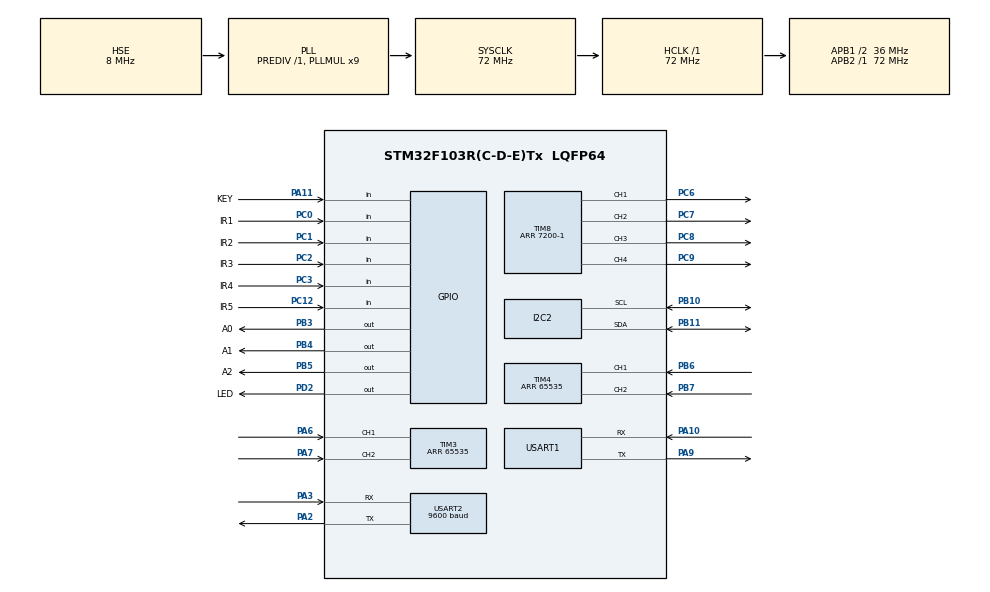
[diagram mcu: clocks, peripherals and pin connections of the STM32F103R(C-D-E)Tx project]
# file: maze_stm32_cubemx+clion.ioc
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Mcu.Family=STM32F1
PB10.Mode=I2C
PC12.Signal=GPIO_Input
TIM4.EncoderMode=TIM_ENCODERMODE_TI12
TIM3.EncoderMode=TIM_ENCODERMODE_TI12
PC0.GPIO_Label=IR1
TIM8.Channel-PWM\ Generation4\ CH4=TIM_CHANNEL_4
PB11.Signal=I2C2_SDA
RCC.SYSCLKSource=RCC_SYSCLKSOURCE_PLLCLK
ProjectManager.StackSize=0x400
PD1-OSC_OUT.Signal=RCC_OSC_OUT
VP_TIM7_VS_ClockSourceINT.Mode=Enable_Timer
NVIC.TIM5_IRQn=true\:3\:0\:true\:false\:true\:true\:true
RCC.HCLKFreq_Value=72000000
TIM8.Channel-PWM\ Generation1\ CH1=TIM_CHANNEL_1
RCC.APB2TimFreq_Value=72000000
TIM3.Period=65535
PB6.Signal=S_TIM4_CH1
PC7.Signal=S_TIM8_CH2
PC3.Signal=GPIO_Input
TIM7.Period=100-1
RCC.AHBFreq_Value=72000000
RCC.PLLMUL=RCC_PLL_MUL9
PA14.Mode=Serial_Wire
SH.S_TIM4_CH2.0=TIM4_CH2,Encoder_Interface
PB7.Signal=S_TIM4_CH2
SH.S_TIM3_CH1.0=TIM3_CH1,Encoder_Interface
TIM4.Period=65535
TIM6.Period=100-1
Mcu.Package=LQFP64
PA6.Signal=S_TIM3_CH1
TIM8.Channel-PWM\ Generation3\ CH3=TIM_CHANNEL_3
SH.S_TIM8_CH4.0=TIM8_CH4,PWM Generation4 CH4
USART2.VirtualMode=VM_ASYNC
PA10.Signal=USART1_RX
TIM8.Channel-PWM\ Generation2\ CH2=TIM_CHANNEL_2
PB5.GPIO_Label=A2
SH.S_TIM4_CH1.0=TIM4_CH1,Encoder_Interface
RCC.APB1TimFreq_Value=72000000
NVIC.USART1_IRQn=true\:3\:0\:true\:false\:true\:true\:true
PC2.GPIO_Label=IR3
NVIC.TIM7_IRQn=true\:1\:0\:true\:false\:true\:true\:true
PB4.Signal=GPIO_Output
PA3.Signal=USART2_RX
SH.S_TIM8_CH3.0=TIM8_CH3,PWM Generation3 CH3
PB3.GPIO_Label=A0
RCC.PLLSourceVirtual=RCC_PLLSOURCE_HSE
PD1-OSC_OUT.Mode=HSE-External-Oscillator
PA10.Mode=Asynchronous
PC8.Signal=S_TIM8_CH3
TIM6.Prescaler=7200-1
PC2.Signal=GPIO_Input
PC6.Signal=S_TIM8_CH1
VP_TIM6_VS_ClockSourceINT.Mode=Enable_Timer
PA11.GPIO_Label=KEY
PD0-OSC_IN.Signal=RCC_OSC_IN
PC0.Signal=GPIO_Input
RCC.APB1CLKDivider=RCC_HCLK_DIV2
NVIC.USART2_IRQn=true\:3\:0\:true\:false\:true\:true\:true
USART2.BaudRate=9600
SH.S_TIM8_CH2.0=TIM8_CH2,PWM Generation2 CH2
TIM5.Channel-Output\ Compare1\ No\ Output=TIM_CHANNEL_1
NVIC.TIM6_IRQn=true\:2\:0\:true\:false\:true\:true\:true
PA13.Signal=SYS_JTMS-SWDIO
PA3.Mode=Asynchronous
PA9.Mode=Asynchronous
PB11.Mode=I2C
ProjectManager.TargetToolchain=SW4STM32
PA9.Signal=USART1_TX
RCC.USBFreq_Value=72000000
PD0-OSC_IN.Mode=HSE-External-Oscillator
PB10.Signal=I2C2_SCL
SH.S_TIM3_CH2.0=TIM3_CH2,Encoder_Interface
VP_TIM5_VS_no_output1.Mode=Output Compare1 No Output
SH.S_TIM8_CH1.0=TIM8_CH1,PWM Generation1 CH1
TIM7.Prescaler=7200-1
board=custom
RCC.APB2Freq_Value=72000000
PB4.GPIO_Label=A1
PC1.GPIO_Label=IR2
PA13.Mode=Serial_Wire
Mcu.Name=STM32F103R(C-D-E)Tx
PA2.Signal=USART2_TX
TIM8.Period=7200-1
PB3.Signal=GPIO_Output
RCC.SYSCLKFreq_VALUE=72000000
PB5.Signal=GPIO_Output
TIM5.Prescaler=7200-1
PC12.GPIO_Label=IR5
USART1.VirtualMode=VM_ASYNC
PA11.Signal=GPIO_Input
PA14.Signal=SYS_JTCK-SWCLK
ProjectManager.HeapSize=0x200
NVIC.PriorityGroup=NVIC_PRIORITYGROUP_4
PA2.Mode=Asynchronous
PC3.GPIO_Label=IR4
TIM5.Period=100-1
PC9.Signal=S_TIM8_CH4
PD2.Signal=GPIO_Output
RCC.APB1Freq_Value=36000000
PC1.Signal=GPIO_Input
PD2.GPIO_Label=LED
PA7.Signal=S_TIM3_CH2

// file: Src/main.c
/* USER CODE BEGIN Header */
/**
  ******************************************************************************
  * @file           : main.c
  * @brief          : Main program body
  ******************************************************************************
  * @attention
  *
  * <h2><center>&copy; Copyright (c) 2020 STMicroelectronics.
  * All rights reserved.</center></h2>
  *
  * This software component is licensed by ST under BSD 3-Clause license,
  * the "License"; You may not use this file except in compliance with the
  * License. You may obtain a copy of the License at:
  *                        opensource.org/licenses/BSD-3-Clause
  *
  ******************************************************************************
  */
/* USER CODE END Header */

#include "main.h"
#include "i2c.h"
#include "tim.h"
#include "usart.h"
#include "gpio.h"

/* USER CODE BEGIN Includes */
#include "User/maze.h"
#include "User/motor.h"
#include "User/infrared.h"
#include "User/oledToMaze.h"
#include "User/dfs.h"
#include "User/bfs.h"

/* USER CODE END Includes */

/* USER CODE BEGIN PV */
uint8_t RxBuffer1; //串口接收1
uint8_t RxBuffer2; //串口接收2

motorInfoType leftInfo;
motorInfoType rightInfo;

uint8_t maze[DPI][DPI] = {0x11};  //新路�????1，有墙是1
char dirStack[STKDEEP] = {-1};  //回溯�????
int dirStackIdx = 0;  //回溯栈下�????
char irR1=0, irR2=0, irR3=0, irR4=0, irR5=0; //五个方向的ir标记
/* USER CODE END PV */

void SystemClock_Config(void);

/* USER CODE BEGIN 0 */
/*�????些参数的初始�????*/
void para_init(carInfoType *carInfo, char x, char y, char dir){
  leftInfo.ENC = 0;
  leftInfo.PWM = 0;
  leftInfo.ADD = 0;
  leftInfo.TGT = 0;

  rightInfo.ENC = 0;
  rightInfo.PWM = 0;
  rightInfo.ADD = 0;
  rightInfo.TGT = 0;

  carInfo->x = x;
  carInfo->y = y;
  carInfo->dir = dir;

  init_maze(maze);
  init_stack(dirStack);

  maze[x][y] = 0x00;
}

/* 判断此方向是否有�????*/
char isWall(carInfoType carInfo, char absDir){
  char relDir = abs_to_rel(carInfo.dir, absDir);
  char ir = read_DirIr(relDir);
  if(ir == 255){
    ir = read_map_wall(maze, carInfo, absDir);
  }else{
    if(isEdge(carInfo, absDir)){
      write_map_wall(maze, carInfo, absDir, ir);
    }else{
      ir = 1;
    }
  }
  return ir;
}

/* 判断此方向是否是新路*/
char isNew(carInfoType carInfo, char absDir){
  return read_map_path(maze, carInfo, absDir);
}

/* 搜索可走的所有方�????*/
char search_dir(carInfoType carInfo){
  char aimDir = -1;
  for(int absDir=0; absDir < 4; absDir++){
    isWall(carInfo, absDir);
  }
  for(int absDir=0; absDir < 4; absDir++){
    if(!isWall(carInfo, absDir)){
      if(isNew(carInfo, absDir)){
        aimDir = absDir;
        return aimDir;
      }
    }
  }
  return aimDir;
}

/* 前往相邻的下�????个方�????*/
void go_to_next(carInfoType carInfo, char nextDir){
  if(nextDir==255)  {
    return;
  }
  char relDir = abs_to_rel(carInfo.dir, nextDir);
  if(relDir == 0) {
    go_straight(&leftInfo, &rightInfo, 2300,2);
    go_stop(&leftInfo, &rightInfo);
  }else if(relDir == 1) {
    go_right(&leftInfo, &rightInfo, 2300,1);
    go_straight(&leftInfo, &rightInfo, 2300,2);
    go_stop(&leftInfo, &rightInfo);
  }else if(relDir == 2) {
    go_turn(&leftInfo, &rightInfo, 2300,1);
    go_straight(&leftInfo, &rightInfo, 2300,2);
    go_stop(&leftInfo, &rightInfo);
  }else if(relDir == 3) {
    go_left(&leftInfo, &rightInfo, 2300,1);
    go_straight(&leftInfo, &rightInfo, 2300,2);
    go_stop(&leftInfo, &rightInfo);
  }
}
/*选择模式并开始运�????*/
char start_run(){
  HAL_GPIO_WritePin(LED_GPIO_Port, LED_Pin, GPIO_PIN_SET);
  OLED_writeDPI(INFOX, INFOY, 1);
  OLED_writeDPI(INFOX+1, INFOY+1, 1);
  OLED_writeDPI(INFOX-1, INFOY+1, 1);
  OLED_writeDPI(INFOX, INFOY+1, 1);
  while(1){
    if(!HAL_GPIO_ReadPin(KEY_GPIO_Port, KEY_Pin)){
      while(!HAL_GPIO_ReadPin(KEY_GPIO_Port, KEY_Pin)){
        HAL_Delay(1000);
        if(!HAL_GPIO_ReadPin(KEY_GPIO_Port, KEY_Pin)){
          return 1;
        }
      }
      break;
    }
  }
  return 0;
}

/* USER CODE END 0 */

int main(void)
{
  /* USER CODE BEGIN 1 */
  carInfoType carInfo;  //小车自身信息
  char sprintFlag = 0;  //冲刺标记
  char nextDir = 0; //下一步绝对方�????
  char backFlag = 0;  //下一步绝对方向标记切�????
  char debug = 1; //模式切换

  /* USER CODE END 1 */

  /* MCU Configuration--------------------------------------------------------*/

  /* Reset of all peripherals, Initializes the Flash interface and the Systick. */
  HAL_Init();

  /* Configure the system clock */
  SystemClock_Config();

  /* Initialize all configured peripherals */
  MX_GPIO_Init();
  MX_TIM6_Init();
  MX_I2C2_Init();
  MX_USART1_UART_Init();
  MX_USART2_UART_Init();
  MX_TIM7_Init();
  MX_TIM3_Init();
  MX_TIM4_Init();
  MX_TIM8_Init();
  MX_TIM5_Init();
  /* USER CODE BEGIN 2 */
  HAL_TIM_Encoder_Start(&htim3, TIM_CHANNEL_1|TIM_CHANNEL_2);
  HAL_TIM_Encoder_Start(&htim4, TIM_CHANNEL_1|TIM_CHANNEL_2);
  HAL_TIM_PWM_Start(&htim8,TIM_CHANNEL_1);
  HAL_TIM_PWM_Start(&htim8,TIM_CHANNEL_2);
  HAL_TIM_PWM_Start(&htim8,TIM_CHANNEL_3);
  HAL_TIM_PWM_Start(&htim8,TIM_CHANNEL_4);
  HAL_UART_Receive_IT(&huart1, &RxBuffer1, 1);
  HAL_UART_Receive_IT(&huart2, &RxBuffer2, 1);
  HAL_TIM_Base_Start_IT(&htim5);
  HAL_TIM_Base_Start_IT(&htim6);
  HAL_TIM_Base_Start_IT(&htim7);
  OLED_Init();

  para_init(&carInfo, 1, 1, 1);
  OLED_Clear();
  flash_OLED_maze(maze);
  flash_OLED_carPos(carInfo);
  debug = start_run();
  if(debug){
    OLED_ShowString(INFOX, INFOY,"Debug  ",12);
    while(!HAL_GPIO_ReadPin(KEY_GPIO_Port, KEY_Pin));
  }else{
    OLED_ShowString(INFOX, INFOY,"Run... ",12);
  }

  /* USER CODE END 2 */

  /* Infinite loop */
  while (1)
  {

    /* USER CODE BEGIN 3 */
    if(debug) while (HAL_GPIO_ReadPin(KEY_GPIO_Port, KEY_Pin));

    if(sprintFlag == 0){  //探索阶段
      nextDir = search_dir(carInfo); //根据是否有墙和是否走过得出下�????步的方向
      backFlag = 0;
    }else {  //冲刺阶段
      nextDir = bestPath(dirStack, &dirStackIdx); //根据计算得出的最优路径得出下�????步的方向
      if(nextDir == 255){ //ENDOFCODE
        HAL_TIM_Base_Stop_IT(&htim6);
        HAL_TIM_Base_Stop_IT(&htim7);
        OLED_ShowString(INFOX, INFOY,"FINISH ",12);
        while(1);
      }
    }

    if(nextDir == 255){ //如果无法得出下一步方向，进行回溯
      nextDir = back_track(dirStack, &dirStackIdx);
      backFlag = 1;
      if(nextDir == 255){ //如果回溯栈空，说明以遍历回起点，准备冲刺
        dirStackIdx = creat_bestPath(carInfo, maze, dirStack);  //计算�????优路�????
        sprintFlag = 1; //切换冲刺标记
      }
    }

    go_to_next(carInfo, nextDir);  //执行

    /*刷新信息*/
    if(!backFlag) flash_pathStack(dirStack, &dirStackIdx, nextDir); //刷新方向�????
    flash_mapPathInfo(maze, carInfo, nextDir); //刷新地图信息
    flash_carInfo(&carInfo, nextDir); //刷新小车自身信息

    /*刷新OLED*/
    flash_OLED_maze(maze);
    flash_OLED_carPos(carInfo);
  }
  /* USER CODE END 3 */
}

void SystemClock_Config(void)
{
  RCC_OscInitTypeDef RCC_OscInitStruct = {0};
  RCC_ClkInitTypeDef RCC_ClkInitStruct = {0};

  /** Initializes the CPU, AHB and APB busses clocks
  */
  RCC_OscInitStruct.OscillatorType = RCC_OSCILLATORTYPE_HSE;
  RCC_OscInitStruct.HSEState = RCC_HSE_ON;
  RCC_OscInitStruct.HSEPredivValue = RCC_HSE_PREDIV_DIV1;
  RCC_OscInitStruct.HSIState = RCC_HSI_ON;
  RCC_OscInitStruct.PLL.PLLState = RCC_PLL_ON;
  RCC_OscInitStruct.PLL.PLLSource = RCC_PLLSOURCE_HSE;
  RCC_OscInitStruct.PLL.PLLMUL = RCC_PLL_MUL9;
  if (HAL_RCC_OscConfig(&RCC_OscInitStruct) != HAL_OK)
  {
    Error_Handler();
  }
  /** Initializes the CPU, AHB and APB busses clocks
  */
  RCC_ClkInitStruct.ClockType = RCC_CLOCKTYPE_HCLK|RCC_CLOCKTYPE_SYSCLK
                              |RCC_CLOCKTYPE_PCLK1|RCC_CLOCKTYPE_PCLK2;
  RCC_ClkInitStruct.SYSCLKSource = RCC_SYSCLKSOURCE_PLLCLK;
  RCC_ClkInitStruct.AHBCLKDivider = RCC_SYSCLK_DIV1;
  RCC_ClkInitStruct.APB1CLKDivider = RCC_HCLK_DIV2;
  RCC_ClkInitStruct.APB2CLKDivider = RCC_HCLK_DIV1;

  if (HAL_RCC_ClockConfig(&RCC_ClkInitStruct, FLASH_LATENCY_2) != HAL_OK)
  {
    Error_Handler();
  }
}

/* USER CODE BEGIN 4 */
void HAL_TIM_PeriodElapsedCallback(TIM_HandleTypeDef *htim){
  if (htim->Instance == htim5.Instance){ //100ms
    flash_OLED_ir();
  }
  if (htim->Instance == htim6.Instance){ //10ms
    //fix_Path
//    if(irR2){
//      if(rightInfo.TGT < 0){
//        rightInfo.TGT += 1;
//      }
//    }
//    if(irR4){
//      if(leftInfo.TGT > 0){
//        leftInfo.TGT -= 1;
//      }
//    }
    //motorControl
    check_ENC(&leftInfo, &rightInfo);
    plus_ADD(&leftInfo, &rightInfo);
    incremental_PI_A(&leftInfo);
    incremental_PI_B(&rightInfo);
    range_PWM(&leftInfo, &rightInfo, 7000);
    set_PWM(&leftInfo, &rightInfo);
  }
  if (htim->Instance == htim7.Instance){ //10ms
    static uint8_t checkFlag = 0;
    static uint8_t irNum = 1;
    if(!checkFlag){
      ir_on(irNum);
    }else{
      if(irNum == 1){
        if(HAL_GPIO_ReadPin(IR1_GPIO_Port, IR1_Pin))  irR1 = 0;
        else irR1 = 1;
      }else if(irNum == 2){
        if(HAL_GPIO_ReadPin(IR2_GPIO_Port, IR2_Pin))  irR2 = 0;
        else irR2 = 1;
      }else if(irNum == 3){
        if(HAL_GPIO_ReadPin(IR3_GPIO_Port, IR3_Pin))  irR3 = 0;
        else irR3 = 1;
      }else if(irNum == 4){
        if(HAL_GPIO_ReadPin(IR4_GPIO_Port, IR4_Pin))  irR4 = 0;
        else irR4 = 1;
      }else if(irNum == 5){
        if(HAL_GPIO_ReadPin(IR5_GPIO_Port, IR5_Pin))  irR5 = 0;
        else irR5 = 1;
      }
    }
    if(checkFlag)  irNum++;
    if(irNum > 5) irNum=0;
    checkFlag = !checkFlag;
  }
}

void HAL_UART_RxCpltCallback(UART_HandleTypeDef *huart){ //串口接收中断
  if(huart == &huart2){
    HAL_GPIO_TogglePin(LED_GPIO_Port, LED_Pin); //翻转LED
    HAL_UART_Transmit(&huart2, &RxBuffer2, sizeof(uint8_t), 100);
    HAL_UART_Receive_IT(&huart2, &RxBuffer2, 1);
  }
  if(huart == &huart1){
    HAL_GPIO_TogglePin(LED_GPIO_Port, LED_Pin); //翻转LED
    HAL_UART_Transmit(&huart1, &RxBuffer1, sizeof(uint8_t), 100);
    HAL_UART_Receive_IT(&huart1, &RxBuffer1, 1);
  }
}

/* USER CODE END 4 */

void Error_Handler(void)
{
}

/************************ (C) COPYRIGHT STMicroelectronics *****END OF FILE****/
